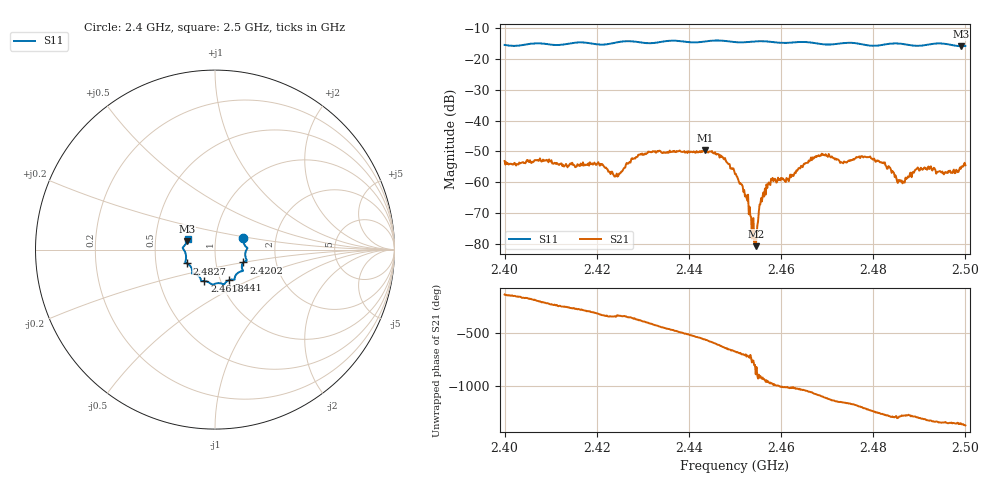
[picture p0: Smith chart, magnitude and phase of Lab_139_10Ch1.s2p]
# Hz S RI R 50
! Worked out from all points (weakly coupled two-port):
!   601 points, 2.4 GHz to 2.5 GHz, reference 50 ohm
!   highest |S21| = -49.66 dB at 2.4435 GHz (marker M1); lowest = -80.8 dB at 2.4545 GHz (marker M2)
!   lowest |S11| = -15.8 dB at 2.499 GHz (marker M3), VSWR 1.39, Z = 36.4 + j3.48 ohm
!   |S11| at or under -10 dB: start of sweep to end of sweep
!   S12 and S22 are empty: the file has one direction only
!   S11 on the Smith chart (normalised r, x): 2.4 GHz: 1.36, +0.18; 2.4202 GHz: 1.36, -0.20; 2.441 GHz: 1.10, -0.39; 2.4618 GHz: 0.84, -0.30; 2.4827 GHz: 0.72, -0.11; 2.5 GHz: 0.73, +0.09
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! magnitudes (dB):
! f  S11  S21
! 2.4 GHz  -15.4  -53.1
! 2.4167 GHz  -14.5  -54.4
! 2.4202 GHz  -15.2  -53.8
! 2.4242 GHz  -14.6  -58.0
! 2.429 GHz  -14.5  -51.1
! 2.4333 GHz  -14.5  -50.0
! 2.441 GHz  -14.6  -50.0
! 2.4435 GHz  -14.3  -49.7
! 2.45 GHz  -14.5  -57.4
! 2.4523 GHz  -14.5  -64.1
! 2.454 GHz  -14.3  -71.7
! 2.4545 GHz  -14.2  -80.8
! 2.4557 GHz  -14.2  -65.2
! 2.4573 GHz  -14.3  -60.1
! 2.4618 GHz  -14.6  -58.5
! 2.4667 GHz  -14.6  -52.8
! 2.4827 GHz  -15.2  -54.6
! 2.4833 GHz  -15.0  -54.8
! 2.4863 GHz  -15.0  -60.4
! 2.4898 GHz  -15.6  -55.6
! 2.499 GHz  -15.8  -55.6
! 2.5 GHz  -15.7  -54.5
